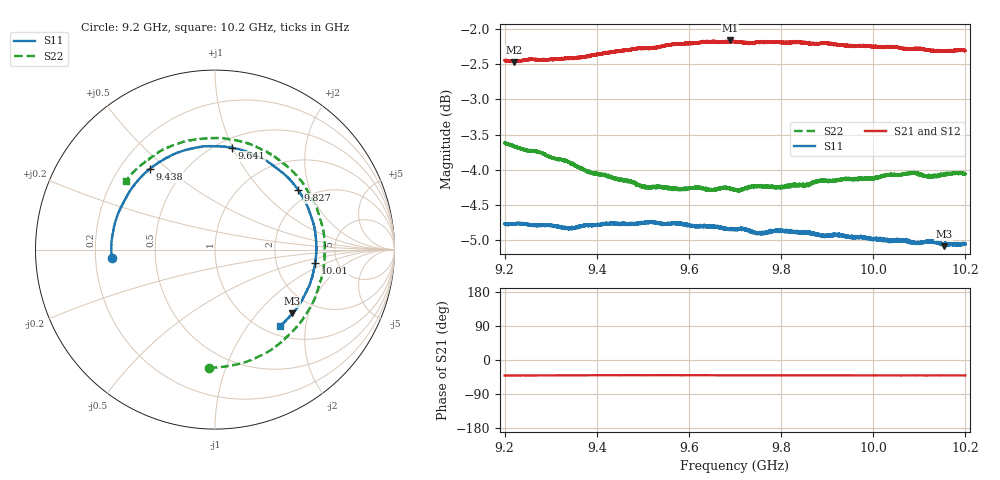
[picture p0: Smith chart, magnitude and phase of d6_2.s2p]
!Agilent Technologies,N5242A,MY51221714,A.09.90.19
!Agilent N5242A: A.09.90.19
!Date: Tuesday, March 26, 2024 17:12:55
!Correction: S11(Full 2 Port(1,2))
!S21(Full 2 Port(1,2))
!S12(Full 2 Port(1,2))
!S22(Full 2 Port(1,2))
!S2P File: Measurements: S11, S21, S12, S22:
# Hz S  dB  R 50
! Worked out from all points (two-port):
!   16001 points, 9.2 GHz to 10.2 GHz, reference 50 ohm
!   highest |S21| = -2.16 dB at 9.689 GHz (marker M1); lowest = -2.5 dB at 9.22 GHz (marker M2)
!   |S21| within 3 dB of the highest: start of sweep to end of sweep
!   lowest |S11| = -5.1 dB at 10.15 GHz (marker M3), VSWR 3.51, Z = 76.4 - j78.6 ohm
!   |S11| at or under -10 dB: nowhere
!   |S22| runs from -4.3 to -3.6 dB; largest |S21 - S12| = 0.012
!   S11 on the Smith chart (normalised r, x): 9.2 GHz: 0.27, -0.04; 9.438 GHz: 0.32, +0.44; 9.641 GHz: 0.59, +1.00; 9.827 GHz: 1.69, +1.67; 10.01 GHz: 3.40, -0.75; 10.2 GHz: 1.16, -1.45
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9.2e9  -4.76 -175.2  -2.45 -41.1  -2.43 -41.8  -3.62 -92.7
9.219625e9  -4.77 -179.8  -2.47 -40.9  -2.46 -41.6  -3.68 -88.1
9.283812e9  -4.80 165.0  -2.44 -40.7  -2.42 -41.3  -3.77 -72.8
9.330125e9  -4.83 154.2  -2.42 -40.4  -2.39 -41.1  -3.86 -61.7
9.366688e9  -4.80 145.9  -2.40 -40.3  -2.38 -40.9  -3.99 -52.9
9.438e9  -4.76 129.0  -2.32 -40.0  -2.32 -40.7  -4.12 -35.4
9.477875e9  -4.77 119.6  -2.29 -40.0  -2.30 -40.7  -4.17 -25.6
9.533375e9  -4.77 106.3  -2.26 -40.0  -2.24 -40.5  -4.22 -11.4
9.592688e9  -4.78 92.1  -2.22 -40.1  -2.20 -40.7  -4.28 3.0
9.641438e9  -4.81 80.4  -2.18 -40.2  -2.18 -40.8  -4.28 15.0
9.688938e9  -4.84 69.0  -2.16 -40.3  -2.16 -40.9  -4.26 26.3
9.7e9  -4.85 66.4  -2.18 -40.4  -2.16 -41.0  -4.28 29.0
9.754938e9  -4.90 53.2  -2.19 -40.3  -2.18 -41.1  -4.24 42.0
9.827e9  -4.88 35.7  -2.20 -40.4  -2.20 -41.0  -4.23 59.3
9.866688e9  -4.90 26.3  -2.20 -40.6  -2.20 -41.0  -4.19 68.5
9.936688e9  -4.94 9.6  -2.24 -40.6  -2.24 -41.1  -4.14 84.6
9.97475e9  -4.96 0.8  -2.23 -40.6  -2.24 -41.3  -4.12 93.1
1.001138e10  -4.98 -7.7  -2.25 -40.7  -2.26 -41.2  -4.10 101.3
1.003338e10  -5.01 -12.7  -2.26 -40.6  -2.25 -41.2  -4.06 106.1
1.009069e10  -5.03 -25.8  -2.27 -40.7  -2.28 -41.2  -4.04 118.7
1.015294e10  -5.08 -39.5  -2.32 -40.7  -2.31 -41.1  -4.05 132.4
1.02e10  -5.05 -49.8  -2.30 -40.8  -2.30 -41.3  -4.05 142.5
